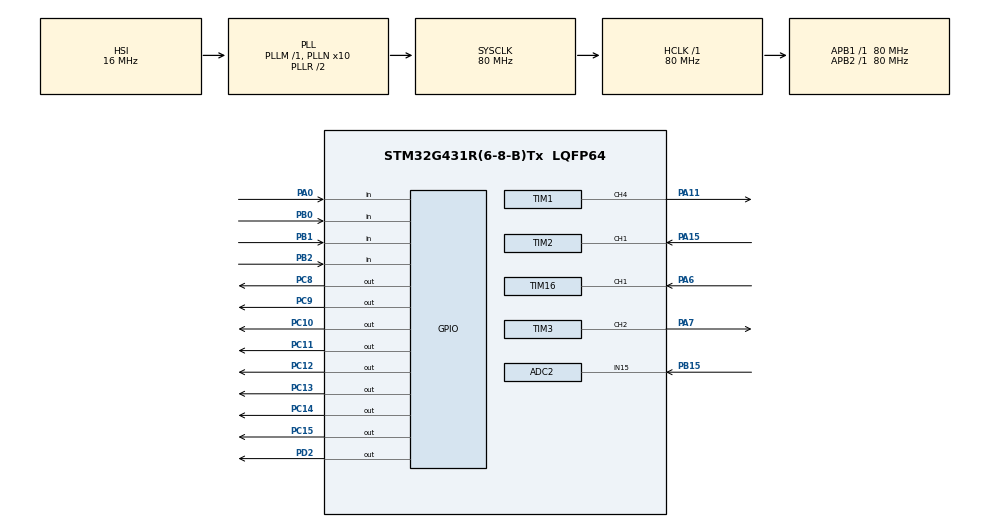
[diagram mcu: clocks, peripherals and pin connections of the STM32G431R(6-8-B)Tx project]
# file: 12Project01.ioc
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ADC2.Channel-0\#ChannelRegularConversion=ADC_CHANNEL_15
ADC2.NbrOfConversionFlag=1
ADC2.OffsetNumber-0\#ChannelRegularConversion=ADC_OFFSET_NONE
ADC2.Rank-0\#ChannelRegularConversion=1
ADC2.SamplingTime-0\#ChannelRegularConversion=ADC_SAMPLETIME_2CYCLES_5
Mcu.Family=STM32G4
Mcu.Name=STM32G431R(6-8-B)Tx
Mcu.Package=LQFP64
NVIC.PriorityGroup=NVIC_PRIORITYGROUP_4
NVIC.TIM1_UP_TIM16_IRQn=true\:0\:0\:false\:false\:true\:true\:true
NVIC.TIM2_IRQn=true\:0\:0\:false\:false\:true\:true\:true
PA0.Signal=GPIO_Input
PA11.Signal=S_TIM1_CH4
PA13.Mode=Serial_Wire
PA13.Signal=SYS_JTMS-SWDIO
PA14.Mode=Serial_Wire
PA14.Signal=SYS_JTCK-SWCLK
PA15.Signal=S_TIM2_CH1
PA6.Signal=S_TIM16_CH1
PA7.Signal=S_TIM3_CH2
PB0.Signal=GPIO_Input
PB1.Signal=GPIO_Input
PB15.Mode=IN15-Single-Ended
PB15.Signal=ADC2_IN15
PB2.Signal=GPIO_Input
PC10.Signal=GPIO_Output
PC11.Signal=GPIO_Output
PC12.Signal=GPIO_Output
PC13.Signal=GPIO_Output
PC14-OSC32_IN.Signal=GPIO_Output
PC15-OSC32_OUT.Signal=GPIO_Output
PC8.Signal=GPIO_Output
PC9.Signal=GPIO_Output
PD2.Signal=GPIO_Output
PF0-OSC_IN.Mode=HSE-External-Oscillator
PF0-OSC_IN.Signal=RCC_OSC_IN
PF1-OSC_OUT.Mode=HSE-External-Oscillator
PF1-OSC_OUT.Signal=RCC_OSC_OUT
ProjectManager.HeapSize=0x200
ProjectManager.StackSize=0x400
ProjectManager.TargetToolchain=MDK-ARM V5
RCC.ADC12Freq_Value=80000000
RCC.AHBFreq_Value=80000000
RCC.APB1Freq_Value=80000000
RCC.APB1TimFreq_Value=80000000
RCC.APB2Freq_Value=80000000
RCC.APB2TimFreq_Value=80000000
RCC.CortexFreq_Value=80000000
RCC.EXTERNAL_CLOCK_VALUE=12288000
RCC.HCLKFreq_Value=80000000
RCC.HSE_VALUE=24000000
RCC.HSI48_VALUE=48000000
RCC.HSI_VALUE=16000000
RCC.LSE_VALUE=32768
RCC.PLLN=10
RCC.SYSCLKFreq_VALUE=80000000
RCC.SYSCLKSource=RCC_SYSCLKSOURCE_PLLCLK
RCC.USBFreq_Value=80000000
RCC.VCOOutputFreq_Value=160000000
SH.S_TIM16_CH1.0=TIM16_CH1,Input_Capture1_from_TI1
SH.S_TIM1_CH4.0=TIM1_CH4,PWM Generation4 CH4
SH.S_TIM2_CH1.0=TIM2_CH1,Input_Capture1_from_TI1
SH.S_TIM3_CH2.0=TIM3_CH2,PWM Generation2 CH2
TIM1.Channel-PWM\ Generation4\ CH4=TIM_CHANNEL_4
TIM1.PeriodNoDither=1000-1
TIM1.Prescaler=80-1
TIM1.PulseNoDither_4=100
TIM16.Channel=TIM_CHANNEL_1
TIM16.PeriodNoDither=1000 - 1
TIM16.Prescaler=80-1
TIM2.Channel-Input_Capture1_from_TI1=TIM_CHANNEL_1
TIM2.Prescaler=80-1
TIM3.Channel-PWM\ Generation2\ CH2=TIM_CHANNEL_2
TIM3.PeriodNoDither=1000-1
TIM3.Prescaler=80-1
VP_SYS_VS_DBSignals.Mode=DisableDeadBatterySignals
VP_TIM16_VS_ClockSourceINT.Mode=Enable_Timer
VP_TIM1_VS_ClockSourceINT.Mode=Internal
VP_TIM2_VS_ClockSourceINT.Mode=Internal
VP_TIM3_VS_ClockSourceINT.Mode=Internal
board=custom

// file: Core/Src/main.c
/* USER CODE BEGIN Header */
/**
  ******************************************************************************
  * @file           : main.c
  * @brief          : Main program body
  ******************************************************************************
  * @attention
  *
  * <h2><center>&copy; Copyright (c) 2023 STMicroelectronics.
  * All rights reserved.</center></h2>
  *
  * This software component is licensed by ST under BSD 3-Clause license,
  * the "License"; You may not use this file except in compliance with the
  * License. You may obtain a copy of the License at:
  *                        opensource.org/licenses/BSD-3-Clause
  *
  ******************************************************************************
  */
/* USER CODE END Header */
#include "main.h"
#include "adc.h"
#include "tim.h"
#include "gpio.h"

/* USER CODE BEGIN Includes */
#include "stdio.h"
#include "string.h"
#include "i2c_hal.h"
#include "lcd.h"
/* USER CODE END Includes */

/* USER CODE BEGIN PD */
#define KEY1 HAL_GPIO_ReadPin(GPIOB,GPIO_PIN_0)
#define KEY2 HAL_GPIO_ReadPin(GPIOB,GPIO_PIN_1)
#define KEY3 HAL_GPIO_ReadPin(GPIOB,GPIO_PIN_2)
#define KEY4 HAL_GPIO_ReadPin(GPIOA,GPIO_PIN_0)
/* USER CODE END PD */

/* USER CODE BEGIN PV */
u8 key_val,key_down,key_up,key_old;
double ao1, ao2;
u8 sta_lcd, sta_key;
u8 ptr[30];

unsigned char tx[21],rx,rx_buf[21],dex;//串口相关变量

u8 tc[128];
u8 tcs = 0;
u8 fp = 4;
u8 led_in;
u8 e2prom[5];//EEPROM存储数组
u32 FreqPA1, FreqPA16;

/* USER CODE END PV */

void SystemClock_Config(void);

/* USER CODE BEGIN 0 */
u8 key_scan()
{
	if((KEY1 == 0)||(KEY2 == 0)||(KEY3 == 0)||(KEY4 == 0))
	{
		HAL_Delay(10);
		if(KEY1 == 0) return 1;
		else if(KEY2 == 0) return 2;
		else if(KEY3 == 0) return 3;
		else if(KEY4 == 0) return 4;
	}return 0;
}

void led_dis(u8 led)
{
	HAL_GPIO_WritePin(GPIOC,0xff00,GPIO_PIN_SET);
	HAL_GPIO_WritePin(GPIOD,GPIO_PIN_2,GPIO_PIN_SET);
	HAL_GPIO_WritePin(GPIOD,GPIO_PIN_2,GPIO_PIN_RESET);

	HAL_GPIO_WritePin(GPIOC,led<<8,GPIO_PIN_RESET);
	HAL_GPIO_WritePin(GPIOD,GPIO_PIN_2,GPIO_PIN_SET);
	HAL_GPIO_WritePin(GPIOD,GPIO_PIN_2,GPIO_PIN_RESET);
}

void key_Proc()
{
	static __IO uint32_t Key_Tick,DKey_Tick;

	if(uwTick - Key_Tick < 50)
		return;

	Key_Tick = uwTick;

	key_val = key_scan();
	key_down = key_val&(key_val^key_old);
	key_up = ~key_val&(key_val^key_old);
	key_old = key_val;

	if(key_down != 0)
		DKey_Tick=uwTick;

	switch (key_up)
	{
		case 1:
		{
			sta_lcd = ~sta_lcd;
			LCD_Clear(Black);
			break;
		}
		case 2:
		{
			if(sta_lcd)
			{
				fp += 2;
				if(fp > 10)
					fp = 2;
			}
			break;
		}
		case 3:
		{
			if(sta_lcd)
			{
				fp -= 2;
				if(fp == 0)
					fp = 2;
			}
			break;
		}
		case 4:
		{

			__HAL_TIM_SetAutoreload(&htim1, 3000);
			LCD_Clear(Black);
			sta_key = ~sta_key; // 0 启用 1 禁用
			break;
		}
	}
}

void lcd_Proc()
{
	sprintf((char*)ptr,"   FRQ:%dHz",FreqPA16);
	LCD_DisplayStringLine(Line7,(u8*)ptr);

	sprintf((char*)ptr,"   FRQ:%dHz",FreqPA1 / fp);
	LCD_DisplayStringLine(Line8,(u8*)ptr);

	if(!sta_lcd)
	{
		sprintf((char*)ptr,"       Data");
		LCD_DisplayStringLine(Line1,(u8*)ptr);
		sprintf((char*)ptr,"   FRQ:%dHz",FreqPA1);
		LCD_DisplayStringLine(Line3,(u8*)ptr);
		sprintf((char*)ptr,"   R37:%.2lfV",ao2);
		LCD_DisplayStringLine(Line5,(u8*)ptr);

	}else{
		sprintf((char*)ptr,"       Para");
		LCD_DisplayStringLine(Line1,(u8*)ptr);
		sprintf((char*)ptr,"      R:%d   ", fp);
		LCD_DisplayStringLine(Line3,(u8*)ptr);
	}
}

void led_Proc()
{

	if(!sta_key)
	{
		if(!sta_lcd)
		{
			led_in |= 0x01;
			led_in &= ~(0x02);
		}else
		{
			led_in |= 0x02;
			led_in &= ~(0x01);
		}

		if(ao2 < 1)
		{
			led_in &= ~(0x04);
		}else if(ao2 < 3 && ao2 >= 1)
		{
			led_in |= (0x04);
		}else if(ao2 >= 3)
		{
			led_in &= ~(0x04);
		}

		if(FreqPA1 < 1000)
		{
			led_in &= ~(0x08);
		}else if(FreqPA1 < 5000 && FreqPA1 >= 1000)
		{
			led_in |= (0x08);
		}else if(FreqPA1 >= 5000)
		{
			led_in &= ~(0x08);
		}
	}else
	{
		led_in = 0x00;
	}

	led_dis(led_in);
}

void getADC2(void) // 获取PB15引脚的电压(对应R37电阻)
{
	uint16_t adc = 0;
	HAL_ADC_Start(&hadc2);
	adc = HAL_ADC_GetValue(&hadc2);
	ao2 = (3.3 * adc)/4096;
	__HAL_TIM_SetAutoreload(&htim3, FreqPA1 / fp);
	if(ao2 == 3.3)
		__HAL_TIM_SetCompare(&htim3,TIM_CHANNEL_2, FreqPA1 / fp);
	if(ao2 == 0)
		__HAL_TIM_SetCompare(&htim3,TIM_CHANNEL_2, 0);
}

void HAL_TIM_IC_CaptureCallback(TIM_HandleTypeDef *htim)
{
	uint32_t  cc1_value = 0;
//	cc1_value = __HAL_TIM_GET_COUNTER(htim);
//	__HAL_TIM_SetCounter(htim,0);
	cc1_value = HAL_TIM_ReadCapturedValue(htim, TIM_CHANNEL_1);
	__HAL_TIM_SetCounter(htim, 0);

	if(htim == &htim2)
	{
		FreqPA1 = 1000000 / cc1_value;
//		freqPa1 = (80000000 / 80)/cc1_value;
	}

	if(htim == &htim16)
	{
		FreqPA16 = 1000000 / cc1_value;
	}

	HAL_TIM_IC_Start_IT(&htim2, TIM_CHANNEL_1);
}
/* USER CODE END 0 */

int main(void)
{

  /* MCU Configuration--------------------------------------------------------*/

  /* Reset of all peripherals, Initializes the Flash interface and the Systick. */
  HAL_Init();

  /* Configure the system clock */
  SystemClock_Config();

  /* Initialize all configured peripherals */
  MX_GPIO_Init();
  MX_ADC2_Init();
  MX_TIM2_Init();
  MX_TIM3_Init();
  MX_TIM1_Init();
  MX_TIM16_Init();
  /* USER CODE BEGIN 2 */
	LCD_Init();
	LCD_SetBackColor(Black);
	LCD_SetTextColor(White);
	LCD_Clear(Black);
	led_dis(0);
	HAL_TIM_IC_Start_IT(&htim2, TIM_CHANNEL_1);
	HAL_TIM_PWM_Start(&htim3, TIM_CHANNEL_2);
	HAL_TIM_IC_Start_IT(&htim16, TIM_CHANNEL_1);
	HAL_TIM_PWM_Start(&htim1, TIM_CHANNEL_4);

  /* USER CODE END 2 */

  /* Infinite loop */
  while (1)
  {

    /* USER CODE BEGIN 3 */
		getADC2();
		key_Proc();
		lcd_Proc();
		led_Proc();
  }
  /* USER CODE END 3 */
}

void SystemClock_Config(void)
{
  RCC_OscInitTypeDef RCC_OscInitStruct = {0};
  RCC_ClkInitTypeDef RCC_ClkInitStruct = {0};
  RCC_PeriphCLKInitTypeDef PeriphClkInit = {0};

  /** Configure the main internal regulator output voltage
  */
  HAL_PWREx_ControlVoltageScaling(PWR_REGULATOR_VOLTAGE_SCALE1);
  /** Initializes the RCC Oscillators according to the specified parameters
  * in the RCC_OscInitTypeDef structure.
  */
  RCC_OscInitStruct.OscillatorType = RCC_OSCILLATORTYPE_HSI;
  RCC_OscInitStruct.HSIState = RCC_HSI_ON;
  RCC_OscInitStruct.HSICalibrationValue = RCC_HSICALIBRATION_DEFAULT;
  RCC_OscInitStruct.PLL.PLLState = RCC_PLL_ON;
  RCC_OscInitStruct.PLL.PLLSource = RCC_PLLSOURCE_HSI;
  RCC_OscInitStruct.PLL.PLLM = RCC_PLLM_DIV1;
  RCC_OscInitStruct.PLL.PLLN = 10;
  RCC_OscInitStruct.PLL.PLLP = RCC_PLLP_DIV2;
  RCC_OscInitStruct.PLL.PLLQ = RCC_PLLQ_DIV2;
  RCC_OscInitStruct.PLL.PLLR = RCC_PLLR_DIV2;
  if (HAL_RCC_OscConfig(&RCC_OscInitStruct) != HAL_OK)
  {
    Error_Handler();
  }
  /** Initializes the CPU, AHB and APB buses clocks
  */
  RCC_ClkInitStruct.ClockType = RCC_CLOCKTYPE_HCLK|RCC_CLOCKTYPE_SYSCLK
                              |RCC_CLOCKTYPE_PCLK1|RCC_CLOCKTYPE_PCLK2;
  RCC_ClkInitStruct.SYSCLKSource = RCC_SYSCLKSOURCE_PLLCLK;
  RCC_ClkInitStruct.AHBCLKDivider = RCC_SYSCLK_DIV1;
  RCC_ClkInitStruct.APB1CLKDivider = RCC_HCLK_DIV1;
  RCC_ClkInitStruct.APB2CLKDivider = RCC_HCLK_DIV1;

  if (HAL_RCC_ClockConfig(&RCC_ClkInitStruct, FLASH_LATENCY_2) != HAL_OK)
  {
    Error_Handler();
  }
  /** Initializes the peripherals clocks
  */
  PeriphClkInit.PeriphClockSelection = RCC_PERIPHCLK_ADC12;
  PeriphClkInit.Adc12ClockSelection = RCC_ADC12CLKSOURCE_SYSCLK;
  if (HAL_RCCEx_PeriphCLKConfig(&PeriphClkInit) != HAL_OK)
  {
    Error_Handler();
  }
}

void Error_Handler(void)
{
  __disable_irq();
  while (1)
  {
  }
}

/************************ (C) COPYRIGHT STMicroelectronics *****END OF FILE****/
